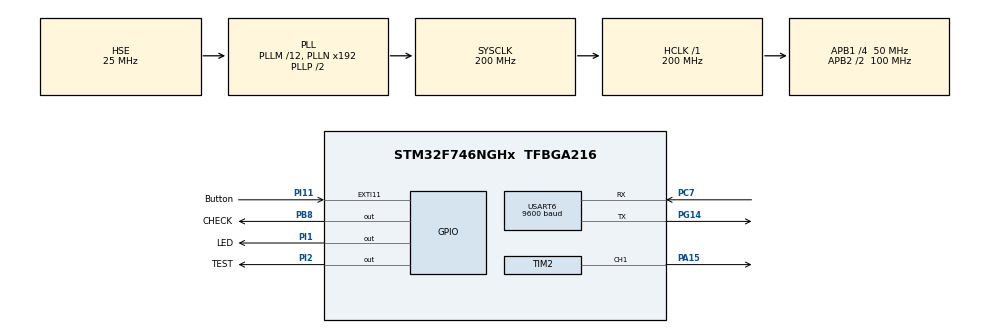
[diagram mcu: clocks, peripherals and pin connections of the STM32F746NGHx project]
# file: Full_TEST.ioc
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Mcu.Family=STM32F7
Mcu.Name=STM32F746NGHx
Mcu.Package=TFBGA216
NVIC.EXTI15_10_IRQn=true\:0\:0\:false\:false\:true\:true\:true
NVIC.PriorityGroup=NVIC_PRIORITYGROUP_4
NVIC.USART6_IRQn=true\:0\:0\:false\:false\:true\:true\:true
PA15.Signal=S_TIM2_CH1_ETR
PA9.Signal=USART1_TX
PB8.GPIO_Label=CHECK
PB8.Signal=GPIO_Output
PC14/OSC32_IN.Mode=LSE-External-Oscillator
PC14/OSC32_IN.Signal=RCC_OSC32_IN
PC15/OSC32_OUT.Mode=LSE-External-Oscillator
PC15/OSC32_OUT.Signal=RCC_OSC32_OUT
PC7.Mode=Asynchronous
PC7.Signal=USART6_RX
PG14.Mode=Asynchronous
PG14.Signal=USART6_TX
PH0/OSC_IN.Mode=HSE-External-Oscillator
PH0/OSC_IN.Signal=RCC_OSC_IN
PH1/OSC_OUT.Mode=HSE-External-Oscillator
PH1/OSC_OUT.Signal=RCC_OSC_OUT
PI1.GPIO_Label=LED
PI1.Signal=GPIO_Output
PI11.GPIO_Label=Button
PI11.Signal=GPXTI11
PI2.GPIO_Label=TEST
PI2.Signal=GPIO_Output
ProjectManager.HeapSize=0x200
ProjectManager.StackSize=0x400
ProjectManager.TargetToolchain=SW4STM32
RCC.AHBFreq_Value=200000000
RCC.APB1CLKDivider=RCC_HCLK_DIV4
RCC.APB1Freq_Value=50000000
RCC.APB1TimFreq_Value=100000000
RCC.APB2CLKDivider=RCC_HCLK_DIV2
RCC.APB2Freq_Value=100000000
RCC.APB2TimFreq_Value=200000000
RCC.CortexFreq_Value=200000000
RCC.HCLKFreq_Value=200000000
RCC.HSE_VALUE=25000000
RCC.HSI_VALUE=16000000
RCC.PLLM=12
RCC.PLLSourceVirtual=RCC_PLLSOURCE_HSE
RCC.SYSCLKFreq_VALUE=200000000
RCC.SYSCLKSource=RCC_SYSCLKSOURCE_PLLCLK
RCC.USBFreq_Value=200000000
RCC.VCOOutputFreq_Value=400000000
SH.S_TIM2_CH1_ETR.0=TIM2_CH1,PWM Generation1 CH1
TIM2.AutoReloadPreload=TIM_AUTORELOAD_PRELOAD_ENABLE
TIM2.Channel-PWM\ Generation1\ CH1=TIM_CHANNEL_1
TIM2.Period=240-1
TIM2.Prescaler=1736
USART6.BaudRate=9600
USART6.VirtualMode-Asynchronous=VM_ASYNC
VP_TIM2_VS_ClockSourceINT.Mode=Internal
board=STM32F746G-DISCO

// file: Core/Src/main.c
/* USER CODE BEGIN Header */
/**
  ******************************************************************************
  * @file           : main.c
  * @brief          : Main program body
  ******************************************************************************
  * @attention
  *
  * <h2><center>&copy; Copyright (c) 2021 STMicroelectronics.
  * All rights reserved.</center></h2>
  *
  * This software component is licensed by ST under BSD 3-Clause license,
  * the "License"; You may not use this file except in compliance with the
  * License. You may obtain a copy of the License at:
  *                        opensource.org/licenses/BSD-3-Clause
  *
  ******************************************************************************
  */
/* USER CODE END Header */
#include "main.h"

/* USER CODE BEGIN Includes */
#include "Morse.h"
/* USER CODE END Includes */

/* USER CODE BEGIN PM */
#define Off 0		//0% power
#define Low 1		//25% power
#define Medium 2	//50% power
#define High 3		//75% power
#define Turbo 5		//100% power
#define MORSE 4
/* USER CODE END PM */

TIM_HandleTypeDef htim2;

UART_HandleTypeDef huart6;

/* USER CODE BEGIN PV */
uint8_t ucMODE = Off; 		//Determines the brightness level
uint8_t uclastMode = Off; 	//Determines the brightness level
int8_t iPulse = 1; 			//Determines the brightness level
uint16_t usLastTime = 350;

uint8_t ucCharBuffer = 0;		//
uint8_t ucDataArrived = 0;
uint8_t testBuf[128];
uint8_t charBuf = 0;
uint8_t ucSize = 0;
/*uint8_t ucCharStock[128];
uint8_t ucDataArrived = 0;*/
/* USER CODE END PV */

void SystemClock_Config(void);
static void MX_GPIO_Init(void);
static void MX_TIM2_Init(void);
static void MX_USART6_UART_Init(void);

int main(void)
{

  /* MCU Configuration--------------------------------------------------------*/

  /* Reset of all peripherals, Initializes the Flash interface and the Systick. */
  HAL_Init();

  /* Configure the system clock */
  SystemClock_Config();

  /* Initialize all configured peripherals */
  MX_GPIO_Init();
  MX_TIM2_Init();
  MX_USART6_UART_Init();
  /* USER CODE BEGIN 2 */
  HAL_TIM_PWM_Start(&htim2, TIM_CHANNEL_1);	//Start PWM generation
  HAL_UART_Receive_IT( &huart6, &ucCharBuffer, 1);

  /* USER CODE END 2 */

  /* Infinite loop */
  while (1)
  {

    /* USER CODE BEGIN 3 */
	if(uclastMode != ucMODE)
	{
		HAL_GPIO_WritePin(LED_GPIO_Port, LED_Pin, GPIO_PIN_RESET);
		if( ( ( HAL_GetTick() - usLastTime ) < 300 )  && iPulse > 0)
		{
			ucMODE = Turbo;
			iPulse = -1;
		}
		else
		{
			if(uclastMode == MORSE)
			{
				for(uint8_t x = 120; x > 0; x--)
				{
					TIM2->CCR1 = x;
					HAL_Delay(8);
				}
			}
		}

		usLastTime = HAL_GetTick();
		uclastMode = ucMODE;
		iPulse++;
		TIM2->CCR1 = 0;
	}

	if(ucMODE == Off)
	{
		TIM2->CCR1 = 0; 							//Set Duty Cycle to 0%
	}
	if(ucMODE == Low)
	{
		TIM2->CCR1 = 60; 							//Set Duty Cycle to 25%
	}
	if(ucMODE == Medium)
	{
		TIM2->CCR1 = 120; 							//Set Duty Cycle to 50%
	}
	if(ucMODE == High)
	{
		TIM2->CCR1 = 180; 							//Set Duty Cycle to 75%
	}
	if(ucMODE == MORSE)
	{

		//HAL_GPIO_WritePin(TEST_GPIO_Port, TEST_Pin, GPIO_PIN_SET);

		if(ucDataArrived == 1)
		{
			ucMorseConvert(ucSize, testBuf);
			ucDataArrived = 0;
			ucSize = 0;
			//printf("test\r\n");
			//printf("%c\r\n", ucCharBuffer);
		}

		//HAL_GPIO_WritePin(TEST_GPIO_Port, TEST_Pin, GPIO_PIN_RESET);
	}
	if( ( ucMODE == Turbo ) && ( iPulse == 0 ) )
	{
		TIM2->CCR1 = 240; 							//Set Duty Cycle to 100%
	}
	if( ( ucMODE == Turbo ) && (iPulse != 0 ) )
	{
		ucMODE = Off;
		iPulse = 0;
	}
	if( ucMODE > Turbo )
	{
		ucMODE = Off;
		iPulse = 0;
	}
  }
  /* USER CODE END 3 */
}

void SystemClock_Config(void)
{
  RCC_OscInitTypeDef RCC_OscInitStruct = {0};
  RCC_ClkInitTypeDef RCC_ClkInitStruct = {0};
  RCC_PeriphCLKInitTypeDef PeriphClkInitStruct = {0};

  /** Configure LSE Drive Capability
  */
  HAL_PWR_EnableBkUpAccess();
  /** Configure the main internal regulator output voltage
  */
  __HAL_RCC_PWR_CLK_ENABLE();
  __HAL_PWR_VOLTAGESCALING_CONFIG(PWR_REGULATOR_VOLTAGE_SCALE1);
  /** Initializes the RCC Oscillators according to the specified parameters
  * in the RCC_OscInitTypeDef structure.
  */
  RCC_OscInitStruct.OscillatorType = RCC_OSCILLATORTYPE_HSE;
  RCC_OscInitStruct.HSEState = RCC_HSE_ON;
  RCC_OscInitStruct.PLL.PLLState = RCC_PLL_ON;
  RCC_OscInitStruct.PLL.PLLSource = RCC_PLLSOURCE_HSE;
  RCC_OscInitStruct.PLL.PLLM = 12;
  RCC_OscInitStruct.PLL.PLLN = 192;
  RCC_OscInitStruct.PLL.PLLP = RCC_PLLP_DIV2;
  RCC_OscInitStruct.PLL.PLLQ = 2;
  if (HAL_RCC_OscConfig(&RCC_OscInitStruct) != HAL_OK)
  {
    Error_Handler();
  }
  /** Activate the Over-Drive mode
  */
  if (HAL_PWREx_EnableOverDrive() != HAL_OK)
  {
    Error_Handler();
  }
  /** Initializes the CPU, AHB and APB buses clocks
  */
  RCC_ClkInitStruct.ClockType = RCC_CLOCKTYPE_HCLK|RCC_CLOCKTYPE_SYSCLK
                              |RCC_CLOCKTYPE_PCLK1|RCC_CLOCKTYPE_PCLK2;
  RCC_ClkInitStruct.SYSCLKSource = RCC_SYSCLKSOURCE_PLLCLK;
  RCC_ClkInitStruct.AHBCLKDivider = RCC_SYSCLK_DIV1;
  RCC_ClkInitStruct.APB1CLKDivider = RCC_HCLK_DIV4;
  RCC_ClkInitStruct.APB2CLKDivider = RCC_HCLK_DIV2;

  if (HAL_RCC_ClockConfig(&RCC_ClkInitStruct, FLASH_LATENCY_6) != HAL_OK)
  {
    Error_Handler();
  }
  PeriphClkInitStruct.PeriphClockSelection = RCC_PERIPHCLK_USART6;
  PeriphClkInitStruct.Usart6ClockSelection = RCC_USART6CLKSOURCE_PCLK2;
  if (HAL_RCCEx_PeriphCLKConfig(&PeriphClkInitStruct) != HAL_OK)
  {
    Error_Handler();
  }
}

static void MX_TIM2_Init(void)
{

  TIM_ClockConfigTypeDef sClockSourceConfig = {0};
  TIM_MasterConfigTypeDef sMasterConfig = {0};
  TIM_OC_InitTypeDef sConfigOC = {0};

  htim2.Instance = TIM2;
  htim2.Init.Prescaler = 1736;
  htim2.Init.CounterMode = TIM_COUNTERMODE_UP;
  htim2.Init.Period = 240-1;
  htim2.Init.ClockDivision = TIM_CLOCKDIVISION_DIV1;
  htim2.Init.AutoReloadPreload = TIM_AUTORELOAD_PRELOAD_ENABLE;
  if (HAL_TIM_Base_Init(&htim2) != HAL_OK)
  {
    Error_Handler();
  }
  sClockSourceConfig.ClockSource = TIM_CLOCKSOURCE_INTERNAL;
  if (HAL_TIM_ConfigClockSource(&htim2, &sClockSourceConfig) != HAL_OK)
  {
    Error_Handler();
  }
  if (HAL_TIM_PWM_Init(&htim2) != HAL_OK)
  {
    Error_Handler();
  }
  sMasterConfig.MasterOutputTrigger = TIM_TRGO_RESET;
  sMasterConfig.MasterSlaveMode = TIM_MASTERSLAVEMODE_DISABLE;
  if (HAL_TIMEx_MasterConfigSynchronization(&htim2, &sMasterConfig) != HAL_OK)
  {
    Error_Handler();
  }
  sConfigOC.OCMode = TIM_OCMODE_PWM1;
  sConfigOC.Pulse = 0;
  sConfigOC.OCPolarity = TIM_OCPOLARITY_HIGH;
  sConfigOC.OCFastMode = TIM_OCFAST_DISABLE;
  if (HAL_TIM_PWM_ConfigChannel(&htim2, &sConfigOC, TIM_CHANNEL_1) != HAL_OK)
  {
    Error_Handler();
  }
  HAL_TIM_MspPostInit(&htim2);

}

static void MX_USART6_UART_Init(void)
{

  huart6.Instance = USART6;
  huart6.Init.BaudRate = 9600;
  huart6.Init.WordLength = UART_WORDLENGTH_8B;
  huart6.Init.StopBits = UART_STOPBITS_1;
  huart6.Init.Parity = UART_PARITY_NONE;
  huart6.Init.Mode = UART_MODE_TX_RX;
  huart6.Init.HwFlowCtl = UART_HWCONTROL_NONE;
  huart6.Init.OverSampling = UART_OVERSAMPLING_16;
  huart6.Init.OneBitSampling = UART_ONE_BIT_SAMPLE_DISABLE;
  huart6.AdvancedInit.AdvFeatureInit = UART_ADVFEATURE_NO_INIT;
  if (HAL_UART_Init(&huart6) != HAL_OK)
  {
    Error_Handler();
  }

}

static void MX_GPIO_Init(void)
{
  GPIO_InitTypeDef GPIO_InitStruct = {0};

  /* GPIO Ports Clock Enable */
  __HAL_RCC_GPIOG_CLK_ENABLE();
  __HAL_RCC_GPIOB_CLK_ENABLE();
  __HAL_RCC_GPIOA_CLK_ENABLE();
  __HAL_RCC_GPIOI_CLK_ENABLE();
  __HAL_RCC_GPIOC_CLK_ENABLE();
  __HAL_RCC_GPIOH_CLK_ENABLE();

  /*Configure GPIO pin Output Level */
  HAL_GPIO_WritePin(CHECK_GPIO_Port, CHECK_Pin, GPIO_PIN_RESET);

  /*Configure GPIO pin Output Level */
  HAL_GPIO_WritePin(GPIOI, TEST_Pin|LED_Pin, GPIO_PIN_RESET);

  /*Configure GPIO pin : CHECK_Pin */
  GPIO_InitStruct.Pin = CHECK_Pin;
  GPIO_InitStruct.Mode = GPIO_MODE_OUTPUT_PP;
  GPIO_InitStruct.Pull = GPIO_NOPULL;
  GPIO_InitStruct.Speed = GPIO_SPEED_FREQ_LOW;
  HAL_GPIO_Init(CHECK_GPIO_Port, &GPIO_InitStruct);

  /*Configure GPIO pins : TEST_Pin LED_Pin */
  GPIO_InitStruct.Pin = TEST_Pin|LED_Pin;
  GPIO_InitStruct.Mode = GPIO_MODE_OUTPUT_PP;
  GPIO_InitStruct.Pull = GPIO_NOPULL;
  GPIO_InitStruct.Speed = GPIO_SPEED_FREQ_LOW;
  HAL_GPIO_Init(GPIOI, &GPIO_InitStruct);

  /*Configure GPIO pin : PA9 */
  GPIO_InitStruct.Pin = GPIO_PIN_9;
  GPIO_InitStruct.Mode = GPIO_MODE_AF_PP;
  GPIO_InitStruct.Pull = GPIO_NOPULL;
  GPIO_InitStruct.Speed = GPIO_SPEED_FREQ_VERY_HIGH;
  GPIO_InitStruct.Alternate = GPIO_AF7_USART1;
  HAL_GPIO_Init(GPIOA, &GPIO_InitStruct);

  /*Configure GPIO pin : Button_Pin */
  GPIO_InitStruct.Pin = Button_Pin;
  GPIO_InitStruct.Mode = GPIO_MODE_IT_RISING;
  GPIO_InitStruct.Pull = GPIO_NOPULL;
  HAL_GPIO_Init(Button_GPIO_Port, &GPIO_InitStruct);

  /* EXTI interrupt init*/
  HAL_NVIC_SetPriority(EXTI15_10_IRQn, 0, 0);
  HAL_NVIC_EnableIRQ(EXTI15_10_IRQn);

}

/* USER CODE BEGIN 4 */
void HAL_GPIO_EXTI_Callback(uint16_t GPIO_Pin)
{
	HAL_GPIO_WritePin(LED_GPIO_Port, LED_Pin, GPIO_PIN_SET);
	if(GPIO_Pin == Button_Pin)
	{
		ucMODE++;
	}
}

void HAL_UART_RxCpltCallback( UART_HandleTypeDef *huart )
{

	//HAL_UART_Receive_IT( &huart6, &ucCharBuffer, 1);
	HAL_UART_Receive_IT( &huart6, &charBuf, 1);
	//ucDataArrived = 1;
	//HAL_GPIO_WritePin(LED_GPIO_Port, LED_Pin, GPIO_PIN_SET);

	if( charBuf == '\n')
	{
		ucDataArrived = 1;
	}
	else
	{
		testBuf[ucSize] = charBuf;
		ucSize++;
	}
}
/* USER CODE END 4 */

void Error_Handler(void)
{
}

/************************ (C) COPYRIGHT STMicroelectronics *****END OF FILE****/
